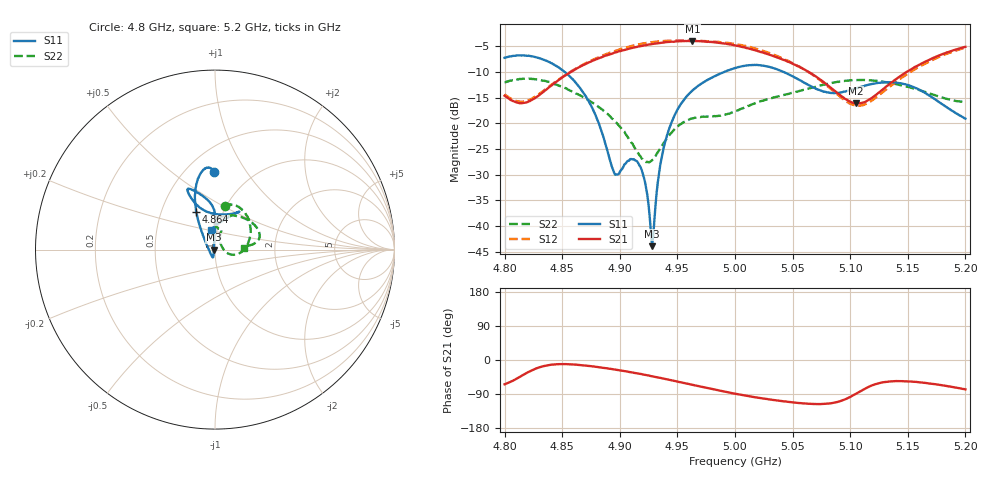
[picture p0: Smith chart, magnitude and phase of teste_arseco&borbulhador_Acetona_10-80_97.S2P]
! Network Analyzer HP8722D
! Hewlett-Packard
! Data name: Linha & Wilkinson
! Saver's name: Rodrigo Anjos
! Comments: Teste da utilização de aquisição
! continua pelo VNA HP8722D
! Time and date: 25/4/2025 16:04
!  Frequency  S11  S21  S12  S22
# HZ  S  MA R 50
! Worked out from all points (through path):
!   401 points, 4.8 GHz to 5.2 GHz, reference 50 ohm
!   highest |S21| = -3.97 dB at 4.963 GHz (marker M1); lowest = -16.1 dB at 5.105 GHz (marker M2)
!   lowest |S11| = -43.9 dB at 4.928 GHz (marker M3), VSWR 1.01, Z = 49.4 - j0.114 ohm
!   |S11| at or under -10 dB: 4.852 GHz to 4.991 GHz (138.5 MHz wide, 2.81 % of centre); 5.042 GHz to end of sweep
!   |S22| runs from -27.6 to -11.3 dB; largest |S21 - S12| = 1.2
!   S11 on the Smith chart (normalised r, x): 4.8 GHz: 0.68, +0.72; 4.864 GHz: 0.75, +0.33; 5.2 GHz: 0.94, +0.21
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4.8e9  0.4342 90.7  0.1857 -64.0  0.1912 69.5  0.2507 77.5
4.82e9  0.4539 97.0  0.1611 -32.7  0.1669 98.2  0.2716 61.9
4.864e9  0.2319 116.5  0.3487 -12.8  0.3512 120.9  0.1906 12.3
4.867e9  0.2093 118.2  0.3627 -13.8  0.3671 120.7  0.1833 8.8
4.88e9  0.1118 128.3  0.422 -18.4  0.4325 118.4  0.1489 -5.0
4.896e9  0.0316 -165.8  0.4887 -25.2  0.507 113.2  0.1046 -16.3
4.909e9  0.0448 -107.3  0.5357 -31.9  0.5622 107.6  0.06744 -14.2
4.917e9  0.03897 -102.8  0.5616 -36.2  0.5888 103.6  0.04903 -1.5
4.922e9  0.02644 -106.3  0.5743 -39.2  0.6019 100.8  0.04237 16.4
4.928e9  0.006369 -169.5  0.5909 -42.9  0.6172 97.2  0.04369 40.4
4.93e9  0.01152 124.8  0.5955 -44.2  0.62 95.8  0.04624 47.5
4.934e9  0.03219 99.4  0.6038 -46.8  0.6289 93.3  0.05459 58.0
4.939e9  0.06364 92.9  0.6154 -49.7  0.6354 90.1  0.06649 65.9
4.945e9  0.1024 90.1  0.623 -53.7  0.6383 86.4  0.08131 69.9
4.963e9  0.2083 90.5  0.6333 -65.4  0.6366 74.9  0.1113 71.4
5e9  0.3455 109.2  0.5732 -88.9  0.5923 50.8  0.1305 88.3
5.03e9  0.3541 115.2  0.4647 -104.1  0.4825 33.8  0.1728 85.6
5.067e9  0.2263 105.2  0.302 -115.8  0.299 23.5  0.2221 57.3
5.105e9  0.2187 65.4  0.1561 -89.0  0.1485 54.0  0.2634 25.7
5.134e9  0.2513 57.3  0.2401 -56.7  0.226 88.7  0.2481 12.5
5.17e9  0.1826 70.7  0.4216 -62.4  0.4056 84.4  0.1934 6.9
5.2e9  0.111 100.4  0.5547 -77.5  0.5446 70.3  0.161 3.8
